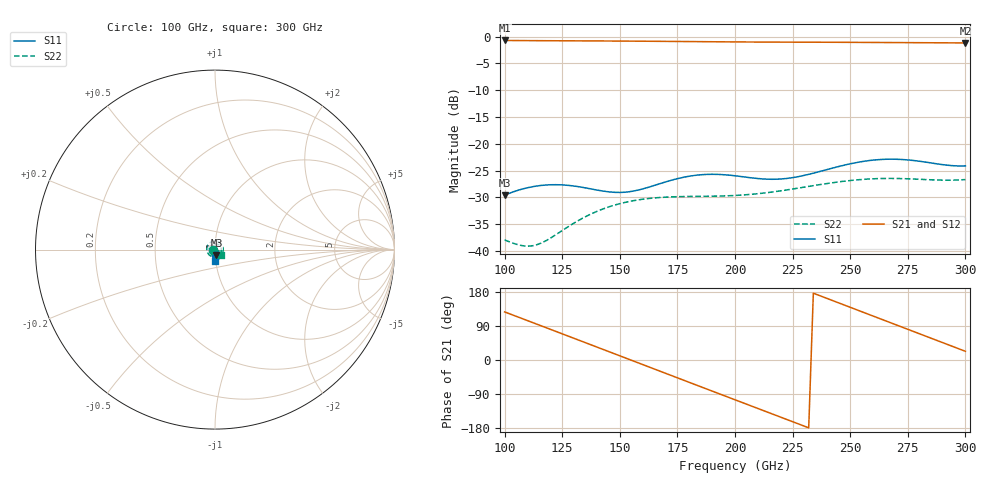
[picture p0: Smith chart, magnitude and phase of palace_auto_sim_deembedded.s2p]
! Created with skrf 1.11.0 (http://scikit-rf.org).
# GHz S DB R 50.0
!freq dBS11 angS11 dBS21 angS21 dBS12 angS12 dBS22 angS22
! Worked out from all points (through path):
!   101 points, 100 GHz to 300 GHz, reference 50 ohm
!   highest |S21| = -0.72 dB at 100 GHz (marker M1); lowest = -1.2 dB at 300 GHz (marker M2)
!   group delay of S21, straight-line fit = 6.44 ps
!   lowest |S11| = -29.6 dB at 100 GHz (marker M3), VSWR 1.07, Z = 50.7 - j3.26 ohm
!   |S11| at or under -10 dB: start of sweep to end of sweep
!   |S22| runs from -39.1 to -26.5 dB; largest |S21 - S12| = 1.6e-13
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100  -29.59 -75.7  -0.72 126.9  -0.72 126.9  -37.92 -172.2
108  -28.39 -81.6  -0.74 108.4  -0.74 108.4  -39.02 141.1
116  -27.75 -88.4  -0.76 89.9  -0.76 89.9  -38.49 88.0
124  -27.64 -94.7  -0.78 71.4  -0.78 71.4  -36.45 41.1
134  -28.13 -99.6  -0.80 48.2  -0.80 48.2  -33.83 -6.2
144  -28.89 -98.2  -0.82 25.0  -0.82 25.0  -31.94 -47.9
152  -29.03 -92.6  -0.84 6.4  -0.84 6.4  -30.95 -80.0
160  -28.40 -86.9  -0.86 -12.2  -0.86 -12.2  -30.33 -112.4
168  -27.35 -84.8  -0.88 -30.8  -0.88 -30.8  -29.99 -145.7
184  -25.81 -90.3  -0.94 -67.9  -0.94 -67.9  -29.80 144.0
192  -25.69 -94.3  -0.96 -86.5  -0.96 -86.5  -29.75 106.7
200  -25.96 -96.7  -0.99 -105.0  -0.99 -105.0  -29.63 68.3
208  -26.38 -96.1  -1.01 -123.5  -1.01 -123.5  -29.38 29.0
218  -26.60 -91.2  -1.03 -146.6  -1.03 -146.6  -28.88 -20.2
226  -26.23 -86.2  -1.04 -165.1  -1.04 -165.1  -28.36 -59.1
234  -25.47 -82.9  -1.04 176.3  -1.04 176.3  -27.80 -97.1
250  -23.73 -83.6  -1.07 139.1  -1.07 139.1  -26.84 -169.8
260  -23.03 -87.8  -1.09 115.8  -1.09 115.8  -26.52 146.1
268  -22.86 -91.8  -1.11 97.2  -1.11 97.2  -26.45 110.8
276  -23.04 -95.1  -1.13 78.7  -1.13 78.7  -26.54 74.9
284  -23.49 -96.3  -1.14 60.1  -1.14 60.1  -26.69 37.7
300  -24.11 -89.3  -1.18 23.0  -1.18 23.0  -26.66 -40.6
